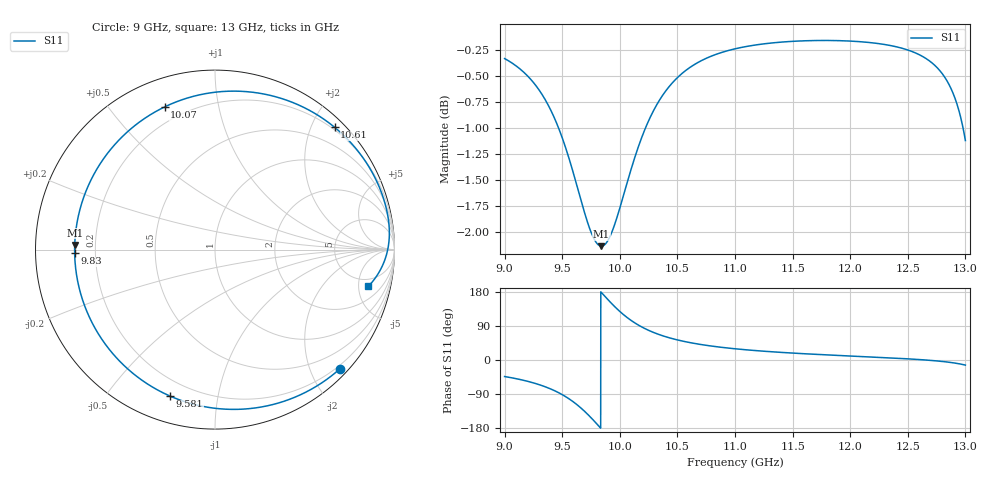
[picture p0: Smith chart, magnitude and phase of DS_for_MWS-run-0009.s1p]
! TOUCHSTONE file generated by CST DESIGN STUDIO
! Date and time: Wed Feb  5 13:27:55 2025
! Project name: C:\Work\MatlabApps\UnitCellOptimizationMatlab\CST\unitcell.cst
! Tree item: Tasks\Sweep1\SPara1\S-Parameters
! Header version: 2024
! Port assignment regex: !\s*Touchstone port\s*([0-9]+)\s*=\s*(CST MWS port|CST DES external port|CST DES block port)\s*(.+)\s* \(\"(.*)\"\)(\s*mode\s*([0-9]+))?.*
! Touchstone port assignment:
! Touchstone port 1 = CST DES external port 1 ("")
# GHz S MA R 50
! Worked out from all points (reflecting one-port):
!   4001 points, 9 GHz to 13 GHz, reference 50 ohm
!   lowest |S11| = -2.1 dB at 9.84 GHz (marker M1), VSWR 8.18, Z = 6.12 + j0.793 ohm
!   phase of S11 starts at -44 deg and turns -330 deg over the sweep
!   S11 on the Smith chart (normalised r, x): 9 GHz: 0.14, -2.49; 9.581 GHz: 0.12, -0.73; 9.83 GHz: 0.12, -0.01; 10.07 GHz: 0.13, +0.70; 10.61 GHz: 0.16, +2.37; 13 GHz: 3.62, -6.50
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9  0.9621 -43.6
9.144  0.9501 -52.1
9.276  0.9331 -62.7
9.391  0.9111 -75.3
9.5  0.8816 -91.4
9.581  0.8537 -107.0
9.641  0.8311 -121.1
9.698  0.8101 -136.5
9.768  0.7901 -158.0
9.83  0.7822 -178.5
9.84  0.782 178.2
9.876  0.784 166.1
9.913  0.7901 154.1
9.958  0.8018 140.1
10  0.8156 128.2
10.075  0.843 109.5
10.166  0.8744 91.3
10.28  0.9055 74.3
10.384  0.9259 62.8
10.5  0.9421 53.0
10.614  0.9532 45.6
10.788  0.9644 37.1
11  0.9725 29.6
11.5  0.9806 18.2
12  0.9809 10.6
12.5  0.9713 3.1
12.817  0.9432 -4.4
13  0.8788 -13.4
